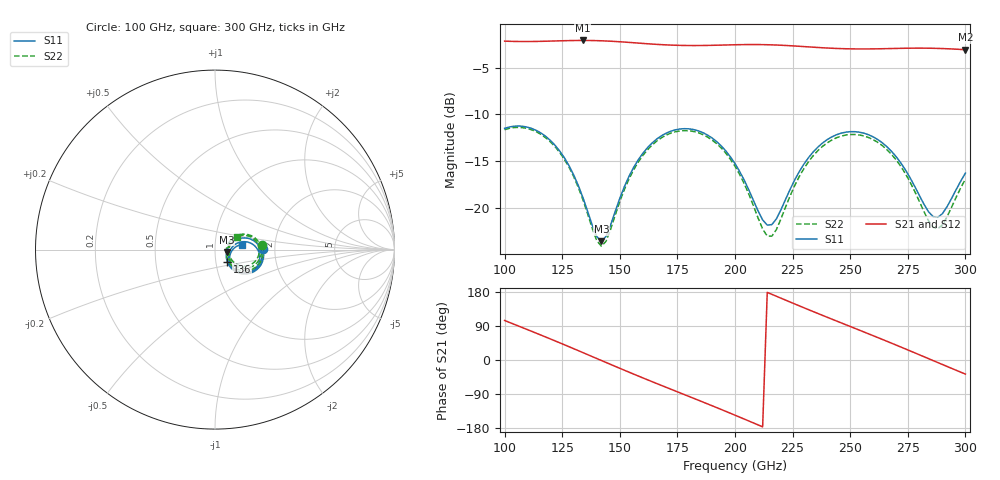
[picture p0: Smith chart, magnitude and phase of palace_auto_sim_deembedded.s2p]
! Created with skrf 1.11.0 (http://scikit-rf.org).
# GHz S DB R 50.0
!freq dBS11 angS11 dBS21 angS21 dBS12 angS12 dBS22 angS22
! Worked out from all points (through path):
!   101 points, 100 GHz to 300 GHz, reference 50 ohm
!   highest |S21| = -2.09 dB at 134 GHz (marker M1); lowest = -3.1 dB at 300 GHz (marker M2)
!   group delay of S21, straight-line fit = 6.96 ps
!   lowest |S11| = -23.6 dB at 142 GHz (marker M3), VSWR 1.14, Z = 56.9 - j1.56 ohm
!   |S11| at or under -10 dB: start of sweep to end of sweep
!   |S22| runs from -24.1 to -11.4 dB; largest |S21 - S12| = 1.2e-15
!   S11 on the Smith chart (normalised r, x): 100 GHz: 1.73, +0.01; 136 GHz: 1.14, -0.15; 300 GHz: 1.35, +0.08
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100  -11.50 0.7  -2.16 104.3  -2.16 104.3  -11.64 5.4
108  -11.28 -14.3  -2.20 84.8  -2.20 84.8  -11.42 -9.3
116  -12.03 -29.1  -2.18 65.2  -2.18 65.2  -12.18 -23.8
126  -14.67 -44.8  -2.11 40.1  -2.11 40.1  -14.83 -39.4
134  -18.91 -48.0  -2.09 19.5  -2.09 19.5  -19.14 -42.8
136  -20.35 -44.7  -2.09 14.3  -2.09 14.3  -20.62 -39.6
142  -23.58 -11.9  -2.12 -1.3  -2.12 -1.3  -24.11 -5.7
156  -15.68 23.2  -2.33 -37.2  -2.33 -37.2  -15.94 31.4
168  -12.30 6.2  -2.54 -66.9  -2.54 -66.9  -12.52 14.5
184  -11.76 -21.8  -2.63 -105.9  -2.63 -105.9  -11.96 -13.4
200  -15.27 -44.6  -2.55 -145.6  -2.55 -145.6  -15.55 -36.9
212  -21.29 -29.8  -2.54 -176.4  -2.54 -176.4  -22.26 -22.7
216  -21.80 -8.2  -2.56 173.3  -2.56 173.3  -23.04 2.3
224  -17.98 15.9  -2.65 152.8  -2.65 152.8  -18.67 29.9
234  -14.00 10.8  -2.81 127.6  -2.81 127.6  -14.41 24.4
250  -11.85 -13.7  -2.99 88.5  -2.99 88.5  -12.16 -0.5
258  -12.18 -26.8  -2.99 69.0  -2.99 69.0  -12.48 -13.8
268  -13.97 -40.9  -2.95 44.2  -2.95 44.2  -14.30 -28.5
278  -17.70 -44.9  -2.91 19.0  -2.91 19.0  -18.24 -33.6
286  -20.95 -23.6  -2.93 -1.5  -2.93 -1.5  -22.08 -11.1
290  -20.63 -5.6  -2.96 -11.8  -2.96 -11.8  -21.83 10.0
300  -16.29 10.7  -3.08 -37.2  -3.08 -37.2  -16.93 28.5
